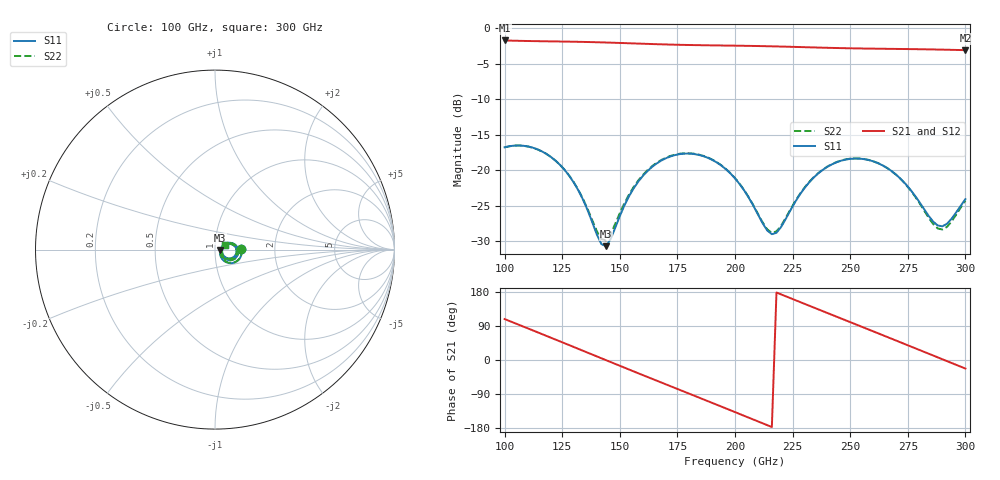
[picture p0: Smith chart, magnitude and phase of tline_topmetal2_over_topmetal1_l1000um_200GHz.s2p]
#  GHZ S DB R 50
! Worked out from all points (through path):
!   101 points, 100 GHz to 300 GHz, reference 50 ohm
!   highest |S21| = -1.72 dB at 100 GHz (marker M1); lowest = -3.1 dB at 300 GHz (marker M2)
!   group delay of S21, straight-line fit = 6.81 ps
!   lowest |S11| = -30.7 dB at 144 GHz (marker M3), VSWR 1.06, Z = 53 - j0.315 ohm
!   |S11| at or under -10 dB: start of sweep to end of sweep
!   |S22| runs from -29.9 to -16.5 dB; largest |S21 - S12| = 8.9e-14
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100  -16.77 1.7  -1.72 108.0  -1.72 108.0  -16.77 2.0
108  -16.54 -14.0  -1.79 88.5  -1.79 88.5  -16.55 -13.6
116  -17.31 -29.4  -1.83 68.9  -1.83 68.9  -17.31 -28.7
126  -19.93 -46.4  -1.88 44.3  -1.88 44.3  -19.92 -45.1
134  -24.11 -52.8  -1.93 24.4  -1.93 24.4  -24.01 -50.5
140  -29.01 -38.6  -1.97 9.5  -1.97 9.5  -28.55 -35.5
144  -30.68 -5.8  -2.01 -0.4  -2.01 -0.4  -29.86 -5.3
156  -22.55 28.8  -2.14 -30.0  -2.14 -30.0  -22.35 26.9
168  -18.63 12.6  -2.27 -59.4  -2.27 -59.4  -18.55 11.4
176  -17.73 -1.5  -2.34 -78.8  -2.34 -78.8  -17.67 -2.5
184  -17.81 -15.9  -2.39 -98.3  -2.39 -98.3  -17.77 -16.7
200  -21.13 -40.1  -2.46 -137.5  -2.46 -137.5  -21.09 -40.5
216  -28.99 -11.2  -2.55 -176.9  -2.55 -176.9  -28.80 -11.7
224  -25.66 23.2  -2.62 163.4  -2.62 163.4  -25.54 21.9
234  -21.08 22.0  -2.70 138.9  -2.70 138.9  -21.02 20.9
244  -18.88 8.2  -2.79 114.5  -2.79 114.5  -18.85 7.1
252  -18.35 -4.9  -2.84 95.0  -2.84 95.0  -18.32 -6.0
268  -20.12 -29.4  -2.91 56.0  -2.91 56.0  -20.13 -30.8
278  -23.53 -36.1  -2.95 31.5  -2.95 31.5  -23.62 -38.1
288  -27.77 -13.5  -3.00 6.9  -3.00 6.9  -28.19 -14.8
292  -27.53 5.0  -3.03 -2.9  -3.03 -2.9  -27.97 5.0
300  -24.06 22.3  -3.09 -22.5  -3.09 -22.5  -24.27 23.4
